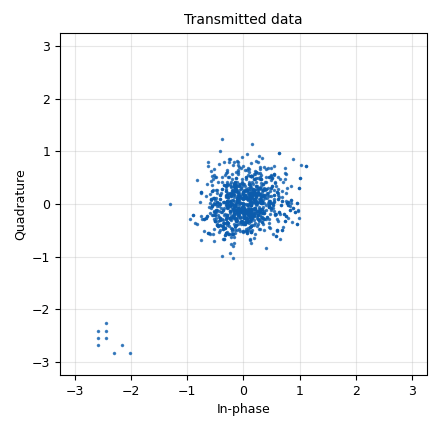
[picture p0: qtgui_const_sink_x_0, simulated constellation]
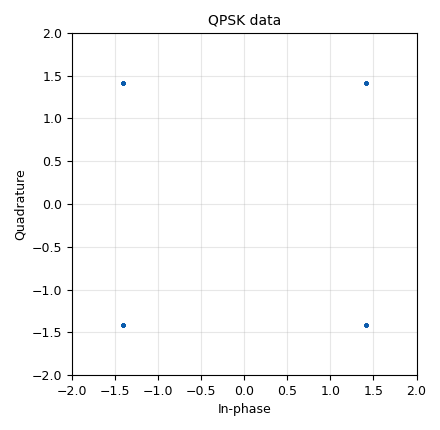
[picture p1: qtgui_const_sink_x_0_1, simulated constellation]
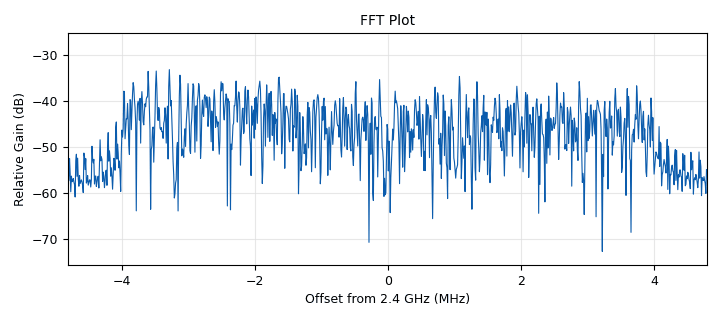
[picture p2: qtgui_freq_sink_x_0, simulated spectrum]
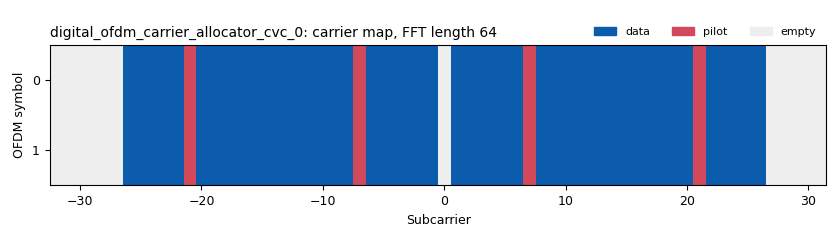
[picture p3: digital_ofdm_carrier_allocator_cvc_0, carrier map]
options:
  parameters:
    category: Custom
    description: Example of an OFDM Transmitter
    generate_options: qt_gui
    id: tx_ofdm
    output_language: python
    run_options: run
    title: OFDM Tx
  states: {}

blocks:
- name: fft_len
  id: variable
  parameters:
    value: '64'
  states: {}
- name: header_equalizer
  id: variable
  parameters:
    value: digital.ofdm_equalizer_simpledfe(fft_len, header_mod.base(), occupied_carriers, pilot_carriers, pilot_symbols)
  states: {}
- name: header_formatter
  id: variable
  parameters:
    value: digital.packet_header_ofdm(occupied_carriers, n_syms=1, len_tag_key=length_tag_key, frame_len_tag_key=length_tag_key, bits_per_header_sym=header_mod.bits_per_symbol(), bits_per_payload_sym=payload_mod.bits_per_symbol(), scramble_header=False)
  states: {}
- name: header_mod
  id: variable
  parameters:
    value: digital.constellation_bpsk()
  states: {}
- name: length_tag_key
  id: variable
  parameters:
    value: '"packet_len"'
  states: {}
- name: my_constellation
  id: variable_constellation
  parameters:
    const_points: '[-1-1j, -1+1j, 1+1j, 1-1j]'
    dims: '1'
    normalization: digital.constellation.AMPLITUDE_NORMALIZATION
    precision: '8'
    rot_sym: '4'
    sym_map: '[0, 1, 3, 2]'
    type: calcdist
  states: {}
- name: occupied_carriers
  id: variable
  parameters:
    value: (list(range(-26, -21)) + list(range(-20, -7)) + list(range(-6, 0)) + list(range(1, 7)) + list(range(8, 21)) + list(range(22, 27)),)
  states: {}
- name: packet_len
  id: variable
  parameters:
    value: '60'
  states: {}
- name: payload_equalizer
  id: variable
  parameters:
    value: digital.ofdm_equalizer_simpledfe(fft_len, payload_mod.base(), occupied_carriers, pilot_carriers, pilot_symbols, 1)
  states: {}
- name: payload_mod
  id: variable
  parameters:
    value: digital.constellation_qpsk()
  states: {}
- name: pilot_carriers
  id: variable
  parameters:
    value: ((-21, -7, 7, 21,),)
  states: {}
- name: pilot_symbols
  id: variable
  parameters:
    value: ((1, 1, 1, -1,),)
  states: {}
- name: rolloff
  id: variable
  parameters:
    value: '0'
  states: {}
- name: samp_rate
  id: variable
  parameters:
    value: '96000'
  states: {}
- name: sync_word1
  id: variable
  parameters:
    value: '[0., 0., 0., 0., 0., 0., 0., 1.41421356, 0., -1.41421356, 0., 1.41421356, 0., -1.41421356, 0., -1.41421356, 0., -1.41421356, 0., 1.41421356, 0., -1.41421356, 0., 1.41421356, 0., -1.41421356, 0., -1.41421356, 0., -1.41421356, 0., -1.41421356, 0., 1.41421356, 0., -1.41421356, 0., 1.41421356, 0., 1.41421356, 0., 1.41421356, 0., -1.41421356, 0., 1.41421356, 0., 1.41421356, 0., 1.41421356, 0., -1.41421356, 0., 1.41421356, 0., 1.41421356, 0., 1.41421356, 0., 0., 0., 0., 0., 0.]'
  states: {}
- name: sync_word2
  id: variable
  parameters:
    value: '[0, 0, 0, 0, 0, 0, -1, -1, -1, -1, 1, 1, -1, -1, -1, 1, -1, 1, 1, 1, 1, 1, -1, -1, -1, -1, -1, 1, -1, -1, 1, -1, 0, 1, -1, 1, 1, 1, -1, 1, 1, 1, -1, 1, 1, 1, 1, -1, 1, -1, -1, -1, 1, -1, 1, -1, -1, -1, -1, 0, 0, 0, 0, 0] '
  states: {}
- name: analog_frequency_modulator_fc_0
  id: analog_frequency_modulator_fc
  parameters:
    sensitivity: '-2.0/fft_len'
  states: {}
- name: analog_random_source_x_0
  id: analog_random_source_x
  parameters:
    max: '4'
    min: '0'
    num_samps: '9600'
    repeat: 'True'
    type: byte
  states: {}
- name: blocks_char_to_float_0
  id: blocks_char_to_float
  parameters:
    scale: '1'
  states: {}
- name: blocks_char_to_float_0_0
  id: blocks_char_to_float
  parameters:
    scale: '1'
  states: {}
- name: blocks_char_to_float_0_0_0
  id: blocks_char_to_float
  parameters:
    scale: '1'
  states: {}
- name: blocks_char_to_float_0_1
  id: blocks_char_to_float
  parameters:
    scale: '1'
  states: {}
- name: blocks_delay_0
  id: blocks_delay
  parameters:
    delay: fft_len+fft_len//4
    type: complex
  states: {}
- name: blocks_delay_1
  id: blocks_delay
  parameters:
    delay: '80'
    type: float
  states: {state: disabled}
- name: blocks_multiply_const_vxx_0
  id: blocks_multiply_const_vxx
  parameters:
    const: '0.05'
    type: complex
  states: {}
- name: blocks_multiply_xx_0
  id: blocks_multiply_xx
  parameters:
    type: complex
  states: {}
- name: blocks_repack_bits_bb_0
  id: blocks_repack_bits_bb
  parameters:
    endianness: gr.GR_LSB_FIRST
    k: '8'
    l: payload_mod.bits_per_symbol()
    len_tag_key: length_tag_key
  states: {}
- name: blocks_repack_bits_bb_0_0
  id: blocks_repack_bits_bb
  parameters:
    align_output: 'True'
    endianness: gr.GR_LSB_FIRST
    k: payload_mod.bits_per_symbol()
    l: '3'
    len_tag_key: packet_length_tag_key
  states: {}
- name: blocks_stream_to_tagged_stream_0
  id: blocks_stream_to_tagged_stream
  parameters:
    len_tag_key: length_tag_key
    packet_len: packet_len
    type: byte
  states: {}
- name: blocks_sub_xx_0
  id: blocks_sub_xx
  parameters:
    type: float
  states: {state: disabled}
- name: blocks_sub_xx_0_0
  id: blocks_sub_xx
  parameters:
    type: float
  states: {state: disabled}
- name: blocks_tag_debug_1
  id: blocks_tag_debug
  parameters:
    display: 'False'
    name: Rx Bytes
    type: byte
  states: {}
- name: blocks_tag_debug_1_0
  id: blocks_tag_debug
  parameters:
    name: xor
    type: byte
  states: {state: disabled}
- name: blocks_tag_gate_0
  id: blocks_tag_gate
  parameters:
    propagate_tags: 'False'
    type: complex
  states: {}
- name: blocks_tagged_stream_mux_0
  id: blocks_tagged_stream_mux
  parameters:
    lengthtagname: length_tag_key
    ninputs: '2'
    type: complex
  states: {}
- name: blocks_throttle_0
  id: blocks_throttle
  parameters:
    samples_per_second: samp_rate
    type: complex
  states: {}
- name: blocks_throttle_0_0
  id: blocks_throttle
  parameters:
    samples_per_second: samp_rate
    type: complex
  states: {}
- name: blocks_unpack_k_bits_bb_0_0
  id: blocks_unpack_k_bits_bb
  parameters:
    k: '2'
  states: {}
- name: blocks_unpack_k_bits_bb_0_0_0
  id: blocks_unpack_k_bits_bb
  parameters:
    k: '2'
  states: {}
- name: blocks_unpack_k_bits_bb_0_0_0_0
  id: blocks_unpack_k_bits_bb
  parameters:
    k: '2'
  states: {}
- name: blocks_unpack_k_bits_bb_0_0_1
  id: blocks_unpack_k_bits_bb
  parameters:
    k: '2'
  states: {}
- name: blocks_xor_xx_0
  id: blocks_xor_xx
  parameters:
    type: byte
  states: {state: disabled}
- name: channels_channel_model_0
  id: channels_channel_model
  parameters:
    block_tags: 'True'
    epsilon: '1.0'
    freq_offset: 0.05e9
    noise_voltage: '0.1'
    seed: '0'
    taps: 1.0 + 1.0j
  states: {}
- name: digital_chunks_to_symbols_xx_0
  id: digital_chunks_to_symbols_xx
  parameters:
    dimension: '1'
    in_type: byte
    out_type: complex
    symbol_table: header_mod.points()
  states: {}
- name: digital_chunks_to_symbols_xx_0_0
  id: digital_chunks_to_symbols_xx
  parameters:
    dimension: '1'
    in_type: byte
    out_type: complex
    symbol_table: payload_mod.points()
  states: {}
- name: digital_constellation_decoder_cb_0
  id: digital_constellation_decoder_cb
  parameters:
    constellation: header_mod.base()
  states: {}
- name: digital_constellation_decoder_cb_0_0
  id: digital_constellation_decoder_cb
  parameters:
    constellation: my_constellation
  states: {}
- name: digital_constellation_decoder_cb_1
  id: digital_constellation_decoder_cb
  parameters:
    constellation: payload_mod.base()
  states: {state: disabled}
- name: digital_crc32_bb_0
  id: digital_crc32_bb
  parameters:
    check: 'False'
    lengthtagname: length_tag_key
    packed: 'True'
  states: {}
- name: digital_crc32_bb_0_0
  id: digital_crc32_bb
  parameters:
    check: 'True'
    lengthtagname: packet_length_tag_key
    packed: 'True'
  states: {}
- name: digital_header_payload_demux_0
  id: digital_header_payload_demux
  parameters:
    guard_interval: fft_len//4
    header_len: '3'
    header_padding: '0'
    items_per_symbol: fft_len
    length_tag_key: length_tag_key
    output_symbols: 'True'
    samp_rate: samp_rate
    special_tags: ()
    timing_tag_key: '"rx_time"'
    type: complex
  states: {}
- name: digital_map_bb_0
  id: digital_map_bb
  parameters:
    map: '[0, 1, 2, 3]'
  states: {}
- name: digital_map_bb_0_0
  id: digital_map_bb
  parameters:
    map: '[0, 1, 2, 3]'
  states: {}
- name: digital_ofdm_carrier_allocator_cvc_0
  id: digital_ofdm_carrier_allocator_cvc
  parameters:
    fft_len: fft_len
    len_tag_key: length_tag_key
    occupied_carriers: occupied_carriers
    output_is_shifted: 'True'
    pilot_carriers: pilot_carriers
    pilot_symbols: pilot_symbols
    sync_words: (sync_word1, sync_word2)
  states: {}
- name: digital_ofdm_chanest_vcvc_0
  id: digital_ofdm_chanest_vcvc
  parameters:
    force_one_symbol: 'False'
    max_carr_offset: '3'
    n_data_symbols: '1'
    sync_symbol1: sync_word1
    sync_symbol2: sync_word2
  states: {}
- name: digital_ofdm_cyclic_prefixer_0
  id: digital_ofdm_cyclic_prefixer
  parameters:
    cp_len: fft_len//4
    input_size: fft_len
    rolloff: rolloff
    tagname: length_tag_key
  states: {}
- name: digital_ofdm_frame_equalizer_vcvc_0
  id: digital_ofdm_frame_equalizer_vcvc
  parameters:
    cp_len: fft_len//4
    equalizer: header_equalizer.base()
    fft_len: fft_len
    fixed_frame_len: '1'
    len_tag_key: length_tag_key
    propagate_channel_state: 'True'
  states: {}
- name: digital_ofdm_frame_equalizer_vcvc_1
  id: digital_ofdm_frame_equalizer_vcvc
  parameters:
    cp_len: fft_len//4
    equalizer: payload_equalizer.base()
    fft_len: fft_len
    len_tag_key: length_tag_key
    propagate_channel_state: 'True'
  states: {}
- name: digital_ofdm_serializer_vcc_header
  id: digital_ofdm_serializer_vcc
  parameters:
    carr_offset_key: ''
    fft_len: fft_len
    len_tag_key: length_tag_key
    occupied_carriers: occupied_carriers
    packet_len_tag_key: ''
  states: {}
- name: digital_ofdm_serializer_vcc_payload
  id: digital_ofdm_serializer_vcc
  parameters:
    carr_offset_key: ''
    fft_len: fft_len
    len_tag_key: length_tag_key
    occupied_carriers: occupied_carriers
    packet_len_tag_key: packet_length_tag_key
    symbols_skipped: '1'
  states: {}
- name: digital_ofdm_sync_sc_cfb_0
  id: digital_ofdm_sync_sc_cfb
  parameters:
    cp_len: fft_len//4
    fft_len: fft_len
    threshold: '0.9'
  states: {}
- name: digital_packet_headergenerator_bb_0
  id: digital_packet_headergenerator_bb
  parameters:
    header_formatter: header_formatter.base()
    len_tag_key: length_tag_key
  states: {}
- name: digital_packet_headerparser_b_0
  id: digital_packet_headerparser_b
  parameters:
    header_formatter: header_formatter.base()
  states: {}
- name: fft_vxx_0
  id: fft_vxx
  parameters:
    fft_size: fft_len
    forward: 'False'
    shift: 'True'
    type: complex
    window: ()
  states: {}
- name: fft_vxx_0_0
  id: fft_vxx
  parameters:
    fft_size: fft_len
    forward: 'True'
    shift: 'True'
    type: complex
    window: ()
  states: {}
- name: fft_vxx_1
  id: fft_vxx
  parameters:
    fft_size: fft_len
    forward: 'True'
    shift: 'True'
    type: complex
    window: ()
  states: {}
- name: header_bits
  id: virtual_sink
  parameters:
    stream_id: Header Bits
  states: {}
- name: qtgui_const_sink_x_0
  id: qtgui_const_sink_x
  parameters:
    autoscale: 'True'
    grid: 'True'
    gui_hint: 1,2
    name: Transmitted data
    size: '1024'
    type: complex
  states: {}
- name: qtgui_const_sink_x_0_0
  id: qtgui_const_sink_x
  parameters:
    grid: 'True'
    gui_hint: 2,1
    name: Received data without sync
    size: '1024'
    type: complex
    update_time: '0.5'
  states: {}
- name: qtgui_const_sink_x_0_0_0
  id: qtgui_const_sink_x
  parameters:
    grid: 'True'
    gui_hint: 2,2
    name: Demodulated data
    size: '1024'
    type: complex
    update_time: '0.5'
  states: {}
- name: qtgui_const_sink_x_0_1
  id: qtgui_const_sink_x
  parameters:
    grid: 'True'
    gui_hint: 1,1
    name: QPSK data
    size: '1024'
    type: complex
  states: {}
- name: qtgui_freq_sink_x_0
  id: qtgui_freq_sink_x
  parameters:
    autoscale: 'True'
    bw: samp_rate*100
    fc: 2.4e9
    fftsize: '1024'
    name: FFT Plot
    showports: 'True'
    type: complex
  states: {}
- name: qtgui_freq_sink_x_0_0
  id: qtgui_freq_sink_x
  parameters:
    autoscale: 'True'
    bw: samp_rate*100
    fc: 2.4e9
    fftsize: '1024'
    name: RX freq
    showports: 'True'
    type: complex
    ymin: '-100'
  states: {}
- name: qtgui_time_sink_x_0
  id: qtgui_time_sink_x
  parameters:
    autoscale: 'True'
    label1: Scope Plot
    label2: ''
    name: Scope Plot
    size: '1024'
    srate: samp_rate
    type: complex
  states: {state: disabled}
- name: qtgui_time_sink_x_0_1
  id: qtgui_time_sink_x
  parameters:
    grid: 'True'
    name: '"Bits"'
    nconnections: '2'
    size: '128'
    srate: samp_rate
    type: float
    ymax: '4'
  states: {}
- name: qtgui_time_sink_x_0_1_0
  id: qtgui_time_sink_x
  parameters:
    grid: 'True'
    name: '"Payload Bits Comparison"'
    nconnections: '2'
    size: '128'
    srate: samp_rate
    type: float
    ymax: '4'
  states: {}
- name: uhd_usrp_sink_0_0
  id: uhd_usrp_sink
  parameters:
    ant0: '"TX/RX"'
    center_freq0: 2.4e9
    dev_addr: '"serial=31FD9BD"'
    gain0: '60'
    samp_rate: samp_rate
    sync: pc_clock
    type: fc32
  states: {}
- name: uhd_usrp_source_0
  id: uhd_usrp_source
  parameters:
    ant0: '"RX2"'
    center_freq0: 2.4e9
    dev_addr: '"serial = 31FD9CA"'
    gain0: '40'
    samp_rate: samp_rate
    start_time: '-1'
    sync: pc_clock
    type: fc32
  states: {}
- name: virtual_sink_0
  id: virtual_sink
  parameters:
    stream_id: Time Domain
  states: {}
- name: virtual_sink_0_0
  id: virtual_sink
  parameters:
    stream_id: Payload Bits
  states: {}
- name: virtual_sink_0_0_0
  id: virtual_sink
  parameters:
    stream_id: Pre-OFDM
  states: {}
- name: virtual_sink_0_1
  id: virtual_sink
  parameters:
    stream_id: Header Stream
  states: {}
- name: virtual_sink_1
  id: virtual_sink
  parameters:
    stream_id: Tx Signal
  states: {}
- name: virtual_sink_1_0
  id: virtual_sink
  parameters:
    stream_id: Payload IQ
  states: {}
- name: virtual_sink_1_0_0
  id: virtual_sink
  parameters:
    stream_id: rx bits
  states: {state: disabled}
- name: virtual_sink_1_1
  id: virtual_sink
  parameters:
    stream_id: Payload Stream
  states: {}
- name: virtual_source_0
  id: virtual_source
  parameters:
    stream_id: Header Bits
  states: {}
- name: virtual_source_0_0
  id: virtual_source
  parameters:
    stream_id: Payload Bits
  states: {}
- name: virtual_source_0_0_0
  id: virtual_source
  parameters:
    stream_id: Pre-OFDM
  states: {}
- name: virtual_source_0_0_0_0
  id: virtual_source
  parameters:
    stream_id: Time Domain
  states: {}
- name: virtual_source_0_0_0_0_0
  id: virtual_source
  parameters:
    stream_id: Tx Signal
  states: {state: disabled}
- name: virtual_source_0_0_1
  id: virtual_source
  parameters:
    stream_id: Payload IQ
  states: {}
- name: virtual_source_0_1
  id: virtual_source
  parameters:
    stream_id: Header Stream
  states: {}
- name: virtual_source_0_2
  id: virtual_source
  parameters:
    stream_id: Header Bits
  states: {}
- name: virtual_source_0_2_0
  id: virtual_source
  parameters:
    stream_id: Payload Bits
  states: {}
- name: virtual_source_1_0
  id: virtual_source
  parameters:
    stream_id: Payload Stream
  states: {}

connections:
- [analog_frequency_modulator_fc_0, '0', blocks_multiply_xx_0, '0']
- [analog_random_source_x_0, '0', blocks_stream_to_tagged_stream_0, '0']
- [analog_random_source_x_0, '0', blocks_xor_xx_0, '0']
- [blocks_char_to_float_0, '0', blocks_sub_xx_0, '1']
- [blocks_char_to_float_0, '0', qtgui_time_sink_x_0_1, '1']
- [blocks_char_to_float_0_0, '0', blocks_sub_xx_0, '0']
- [blocks_char_to_float_0_0, '0', qtgui_time_sink_x_0_1, '0']
- [blocks_char_to_float_0_0_0, '0', blocks_delay_1, '0']
- [blocks_char_to_float_0_0_0, '0', blocks_sub_xx_0_0, '0']
- [blocks_char_to_float_0_0_0, '0', qtgui_time_sink_x_0_1_0, '0']
- [blocks_char_to_float_0_1, '0', blocks_sub_xx_0_0, '1']
- [blocks_char_to_float_0_1, '0', qtgui_time_sink_x_0_1_0, '1']
- [blocks_delay_0, '0', blocks_multiply_xx_0, '1']
- [blocks_delay_1, '0', qtgui_time_sink_x_0_1_0, '0']
- [blocks_multiply_const_vxx_0, '0', blocks_tag_gate_0, '0']
- [blocks_multiply_xx_0, '0', digital_header_payload_demux_0, '0']
- [blocks_repack_bits_bb_0, '0', virtual_sink_0_0, '0']
- [blocks_repack_bits_bb_0_0, '0', blocks_xor_xx_0, '1']
- [blocks_repack_bits_bb_0_0, '0', digital_crc32_bb_0_0, '0']
- [blocks_stream_to_tagged_stream_0, '0', digital_crc32_bb_0, '0']
- [blocks_sub_xx_0, '0', qtgui_time_sink_x_0_1, '0']
- [blocks_sub_xx_0_0, '0', qtgui_time_sink_x_0_1_0, '0']
- [blocks_tag_gate_0, '0', blocks_throttle_0, '0']
- [blocks_tagged_stream_mux_0, '0', virtual_sink_0_0_0, '0']
- [blocks_throttle_0, '0', qtgui_const_sink_x_0, '0']
- [blocks_throttle_0, '0', qtgui_freq_sink_x_0, '0']
- [blocks_throttle_0, '0', qtgui_time_sink_x_0, '0']
- [blocks_throttle_0, '0', uhd_usrp_sink_0_0, '0']
- [blocks_throttle_0, '0', virtual_sink_1, '0']
- [blocks_throttle_0_0, '0', blocks_delay_0, '0']
- [blocks_throttle_0_0, '0', digital_ofdm_sync_sc_cfb_0, '0']
- [blocks_unpack_k_bits_bb_0_0, '0', blocks_char_to_float_0_0, '0']
- [blocks_unpack_k_bits_bb_0_0_0, '0', blocks_char_to_float_0, '0']
- [blocks_unpack_k_bits_bb_0_0_0_0, '0', blocks_char_to_float_0_1, '0']
- [blocks_unpack_k_bits_bb_0_0_1, '0', blocks_char_to_float_0_0_0, '0']
- [blocks_xor_xx_0, '0', blocks_tag_debug_1_0, '0']
- [channels_channel_model_0, '0', blocks_throttle_0_0, '0']
- [channels_channel_model_0, '0', qtgui_const_sink_x_0_0, '0']
- [channels_channel_model_0, '0', qtgui_freq_sink_x_0_0, '0']
- [digital_chunks_to_symbols_xx_0, '0', blocks_tagged_stream_mux_0, '0']
- [digital_chunks_to_symbols_xx_0_0, '0', blocks_tagged_stream_mux_0, '1']
- [digital_chunks_to_symbols_xx_0_0, '0', qtgui_const_sink_x_0_1, '0']
- [digital_constellation_decoder_cb_0, '0', digital_map_bb_0, '0']
- [digital_constellation_decoder_cb_0, '0', digital_packet_headerparser_b_0, '0']
- [digital_constellation_decoder_cb_0_0, '0', blocks_repack_bits_bb_0_0, '0']
- [digital_constellation_decoder_cb_0_0, '0', digital_map_bb_0_0, '0']
- [digital_constellation_decoder_cb_1, '0', blocks_repack_bits_bb_0_0, '0']
- [digital_constellation_decoder_cb_1, '0', digital_map_bb_0, '0']
- [digital_crc32_bb_0, '0', blocks_repack_bits_bb_0, '0']
- [digital_crc32_bb_0, '0', digital_packet_headergenerator_bb_0, '0']
- [digital_crc32_bb_0_0, '0', blocks_tag_debug_1, '0']
- [digital_crc32_bb_0_0, '0', virtual_sink_1_0_0, '0']
- [digital_header_payload_demux_0, '0', virtual_sink_0_1, '0']
- [digital_header_payload_demux_0, '1', virtual_sink_1_1, '0']
- [digital_map_bb_0, '0', blocks_unpack_k_bits_bb_0_0_0, '0']
- [digital_map_bb_0_0, '0', blocks_unpack_k_bits_bb_0_0_0_0, '0']
- [digital_ofdm_carrier_allocator_cvc_0, '0', fft_vxx_0, '0']
- [digital_ofdm_chanest_vcvc_0, '0', digital_ofdm_frame_equalizer_vcvc_0, '0']
- [digital_ofdm_cyclic_prefixer_0, '0', virtual_sink_0, '0']
- [digital_ofdm_frame_equalizer_vcvc_0, '0', digital_ofdm_serializer_vcc_header, '0']
- [digital_ofdm_frame_equalizer_vcvc_1, '0', digital_ofdm_serializer_vcc_payload, '0']
- [digital_ofdm_serializer_vcc_header, '0', digital_constellation_decoder_cb_0, '0']
- [digital_ofdm_serializer_vcc_payload, '0', virtual_sink_1_0, '0']
- [digital_ofdm_sync_sc_cfb_0, '0', analog_frequency_modulator_fc_0, '0']
- [digital_ofdm_sync_sc_cfb_0, '1', digital_header_payload_demux_0, '1']
- [digital_packet_headergenerator_bb_0, '0', header_bits, '0']
- [digital_packet_headerparser_b_0, header_data, digital_header_payload_demux_0, header_data]
- [fft_vxx_0, '0', digital_ofdm_cyclic_prefixer_0, '0']
- [fft_vxx_0_0, '0', digital_ofdm_chanest_vcvc_0, '0']
- [fft_vxx_1, '0', digital_ofdm_frame_equalizer_vcvc_1, '0']
- [uhd_usrp_source_0, '0', channels_channel_model_0, '0']
- [virtual_source_0, '0', digital_chunks_to_symbols_xx_0, '0']
- [virtual_source_0_0, '0', digital_chunks_to_symbols_xx_0_0, '0']
- [virtual_source_0_0_0, '0', digital_ofdm_carrier_allocator_cvc_0, '0']
- [virtual_source_0_0_0_0, '0', blocks_multiply_const_vxx_0, '0']
- [virtual_source_0_0_0_0_0, '0', channels_channel_model_0, '0']
- [virtual_source_0_0_1, '0', digital_constellation_decoder_cb_0_0, '0']
- [virtual_source_0_0_1, '0', digital_constellation_decoder_cb_1, '0']
- [virtual_source_0_0_1, '0', qtgui_const_sink_x_0_0_0, '0']
- [virtual_source_0_1, '0', fft_vxx_0_0, '0']
- [virtual_source_0_2, '0', blocks_unpack_k_bits_bb_0_0, '0']
- [virtual_source_0_2_0, '0', blocks_unpack_k_bits_bb_0_0_1, '0']
- [virtual_source_1_0, '0', fft_vxx_1, '0']

metadata:
  file_format: 1
